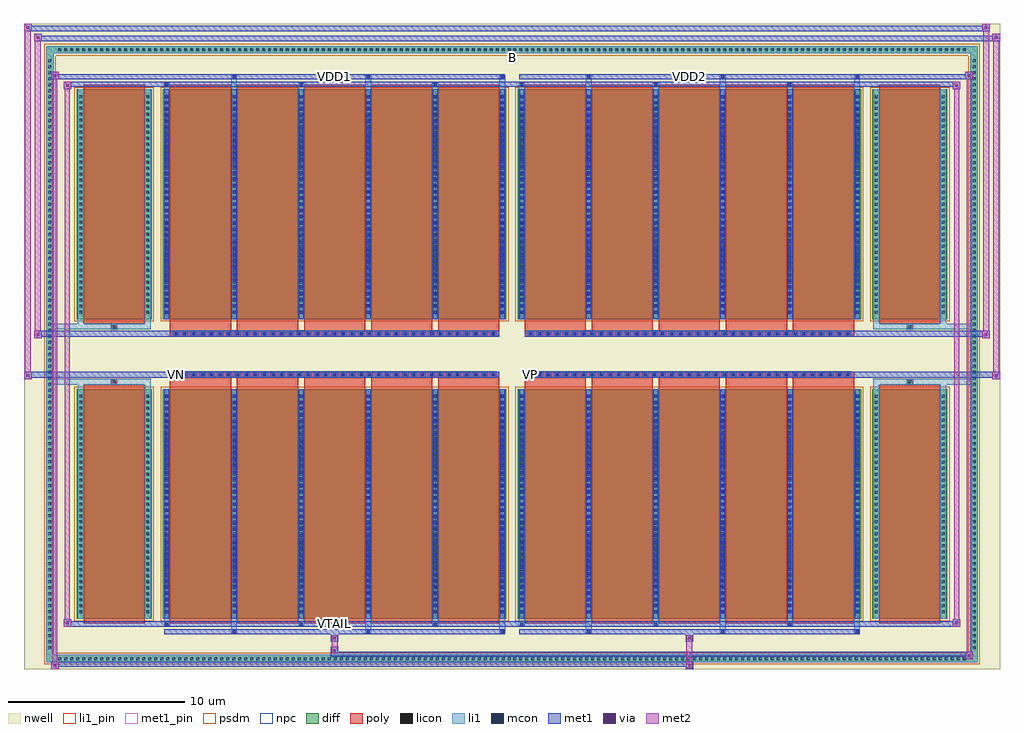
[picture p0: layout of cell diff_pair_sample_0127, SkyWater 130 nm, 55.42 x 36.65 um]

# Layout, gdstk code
import gdstk
lib = gdstk.Library(unit=1e-6, precision=5e-09)
def R(c, l, rs):  # rectangles x0, y0, x1, y1
    for r in rs: c.add(gdstk.rectangle(r[:2], r[2:], *l))
def A(c, l, x, y, w, h, nx, ny, dx, dy):  # array of equal rectangles
    R(c, l, [(x+i*dx, y+j*dy, x+i*dx+w, y+j*dy+h) for i in range(nx) for j in range(ny)])
def P(c, l, *ps):  # polygons
    for p in ps: c.add(gdstk.Polygon(p, *l))
nwell = (64, 20)
diff = (65, 20)
poly = (66, 20)
licon = (66, 44)
li1_pin = (67, 16)
li1 = (67, 20)
mcon = (67, 44)
met1_pin = (68, 16)
met1 = (68, 20)
via = (68, 44)
met2 = (69, 20)
psdm = (94, 20)
npc = (95, 20)

diff_pair_sample_0127 = lib.new_cell('diff_pair_sample_0127')
R(diff_pair_sample_0127, nwell, [(-27.71,-17.89,27.71,18.76), (-25.03,-16.08,-0.01,-0.8), (0.01,-16.08,25.03,-0.8), (-25.03,0.8,-0.01,16.08), (0.01,0.8,25.03,16.08)])
A(diff_pair_sample_0127, diff, -25.875, -17.49, 0.41, 0.41, 152, 2, 0.34, 34.57)
A(diff_pair_sample_0127, diff, -26.44, -16.865, 0.41, 0.41, 1, 99, 0, 0.34)
A(diff_pair_sample_0127, diff, 26.03, -16.865, 0.41, 0.41, 1, 99, 0, 0.34)
R(diff_pair_sample_0127, diff, [(-25.875,-17.49,25.875,-17.08), (-26.44,-16.865,-26.03,16.865), (26.03,-16.865,26.44,16.865), (-24.72,-15.035,-20.46,-1.985), (-19.82,-15.035,-0.32,-1.985), (0.32,-15.035,19.82,-1.985), (20.46,-15.035,24.72,-1.985), (-24.72,1.985,-20.46,15.035), (-19.82,1.985,-0.32,15.035), (0.32,1.985,19.82,15.035), (20.46,1.985,24.72,15.035), (-25.875,17.08,25.875,17.49)])
P(diff_pair_sample_0127, diff, [(26.44,17.49),(-26.44,17.49),(-26.44,-17.08),(-26.03,-17.08),(-26.03,17.08),(26.03,17.08),(26.03,-17.08),(-26.03,-17.08),(-26.44,-17.08),(-26.44,-17.49),(26.44,-17.49)])
A(diff_pair_sample_0127, poly, -19.43, -15.285, 3.48, 13.55, 5, 2, 3.81, 17.02)
A(diff_pair_sample_0127, poly, 0.71, -15.285, 3.48, 13.55, 5, 2, 3.81, 17.02)
A(diff_pair_sample_0127, poly, -19.43, -1.735, 3.48, 0.405, 5, 2, 3.81, 3.065)
A(diff_pair_sample_0127, poly, 0.71, -1.735, 3.48, 0.405, 5, 2, 3.81, 3.065)
A(diff_pair_sample_0127, poly, -19.235, -1.33, 0.33, 0.33, 37, 2, 0.5, 2.33)
A(diff_pair_sample_0127, poly, 0.905, -1.33, 0.33, 0.33, 37, 2, 0.5, 2.33)
R(diff_pair_sample_0127, poly, [(-24.33,-15.285,-20.85,-1.735), (20.85,-15.285,24.33,-1.735), (-22.755,-1.735,-22.425,-1.405), (-22.755,-1.735,-22.425,-1.405), (22.425,-1.735,22.755,-1.405), (22.425,-1.735,22.755,-1.405), (-19.43,-1.33,-0.71,-1), (0.71,-1.33,19.43,-1), (-19.43,1,-0.71,1.33), (0.71,1,19.43,1.33), (-22.755,1.405,-22.425,1.735), (-22.755,1.405,-22.425,1.735), (22.425,1.405,22.755,1.735), (22.425,1.405,22.755,1.735), (-24.33,1.735,-20.85,15.285), (20.85,1.735,24.33,15.285)])
A(diff_pair_sample_0127, licon, -25.755, -17.37, 0.17, 0.17, 152, 2, 0.34, 34.57)
A(diff_pair_sample_0127, licon, -26.32, -16.745, 0.17, 0.17, 1, 99, 0, 0.34)
A(diff_pair_sample_0127, licon, 26.15, -16.745, 0.17, 0.17, 1, 99, 0, 0.34)
A(diff_pair_sample_0127, licon, -24.58, -14.715, 0.17, 0.17, 1, 37, 0, 0.34)
A(diff_pair_sample_0127, licon, -20.77, -14.715, 0.17, 0.17, 1, 37, 0, 0.34)
A(diff_pair_sample_0127, licon, -19.68, -14.715, 0.17, 0.17, 6, 37, 3.81, 0.34)
A(diff_pair_sample_0127, licon, 0.46, -14.715, 0.17, 0.17, 6, 37, 3.81, 0.34)
A(diff_pair_sample_0127, licon, 20.6, -14.715, 0.17, 0.17, 1, 37, 0, 0.34)
A(diff_pair_sample_0127, licon, 24.41, -14.715, 0.17, 0.17, 1, 37, 0, 0.34)
A(diff_pair_sample_0127, licon, -19.155, -1.25, 0.17, 0.17, 37, 2, 0.5, 2.33)
A(diff_pair_sample_0127, licon, 0.985, -1.25, 0.17, 0.17, 37, 2, 0.5, 2.33)
A(diff_pair_sample_0127, licon, -24.58, 2.305, 0.17, 0.17, 1, 37, 0, 0.34)
A(diff_pair_sample_0127, licon, -20.77, 2.305, 0.17, 0.17, 1, 37, 0, 0.34)
A(diff_pair_sample_0127, licon, -19.68, 2.305, 0.17, 0.17, 6, 37, 3.81, 0.34)
A(diff_pair_sample_0127, licon, 0.46, 2.305, 0.17, 0.17, 6, 37, 3.81, 0.34)
A(diff_pair_sample_0127, licon, 20.6, 2.305, 0.17, 0.17, 1, 37, 0, 0.34)
A(diff_pair_sample_0127, licon, 24.41, 2.305, 0.17, 0.17, 1, 37, 0, 0.34)
R(diff_pair_sample_0127, licon, [(-22.675,-1.655,-22.505,-1.485), (22.505,-1.655,22.675,-1.485), (-22.675,1.485,-22.505,1.655), (22.505,1.485,22.675,1.655)])
R(diff_pair_sample_0127, li1_pin, [(-0.25,16.58,0.25,17.08)])
A(diff_pair_sample_0127, li1, -25.835, -17.45, 0.33, 0.33, 152, 2, 0.34, 34.57)
A(diff_pair_sample_0127, li1, -26.4, -16.825, 0.33, 0.33, 1, 99, 0, 0.34)
A(diff_pair_sample_0127, li1, 26.07, -16.825, 0.33, 0.33, 1, 99, 0, 0.34)
A(diff_pair_sample_0127, li1, -15.95, -15.84, 0.33, 0.805, 3, 2, 7.62, 30.875)
A(diff_pair_sample_0127, li1, -15.87, -15.84, 0.17, 0.17, 3, 2, 7.62, 31.51)
A(diff_pair_sample_0127, li1, 4.19, -15.84, 0.33, 0.805, 3, 2, 7.62, 30.875)
A(diff_pair_sample_0127, li1, 4.27, -15.84, 0.17, 0.17, 3, 2, 7.62, 31.51)
A(diff_pair_sample_0127, li1, -19.76, -15.41, 0.33, 0.375, 3, 2, 7.62, 30.445)
A(diff_pair_sample_0127, li1, -19.68, -15.41, 0.17, 0.17, 3, 2, 7.62, 30.65)
A(diff_pair_sample_0127, li1, 0.38, -15.41, 0.33, 0.375, 3, 2, 7.62, 30.445)
A(diff_pair_sample_0127, li1, 0.46, -15.41, 0.17, 0.17, 3, 2, 7.62, 30.65)
A(diff_pair_sample_0127, li1, -19.76, -15.035, 0.33, 13.05, 6, 2, 3.81, 17.02)
A(diff_pair_sample_0127, li1, 0.38, -15.035, 0.33, 13.05, 6, 2, 3.81, 17.02)
A(diff_pair_sample_0127, li1, -24.66, -14.795, 0.33, 0.33, 1, 37, 0, 0.34)
A(diff_pair_sample_0127, li1, -20.85, -14.795, 0.33, 0.33, 1, 37, 0, 0.34)
A(diff_pair_sample_0127, li1, -19.76, -14.795, 0.33, 0.33, 6, 37, 3.81, 0.34)
A(diff_pair_sample_0127, li1, 0.38, -14.795, 0.33, 0.33, 6, 37, 3.81, 0.34)
A(diff_pair_sample_0127, li1, 20.52, -14.795, 0.33, 0.33, 1, 37, 0, 0.34)
A(diff_pair_sample_0127, li1, 24.33, -14.795, 0.33, 0.33, 1, 37, 0, 0.34)
A(diff_pair_sample_0127, li1, -19.68, -14.715, 0.17, 0.17, 6, 35, 3.81, 0.36)
A(diff_pair_sample_0127, li1, -19.68, -14.715, 0.17, 12.41, 6, 2, 3.81, 17.02)
A(diff_pair_sample_0127, li1, 0.46, -14.715, 0.17, 0.17, 6, 35, 3.81, 0.36)
A(diff_pair_sample_0127, li1, 0.46, -14.715, 0.17, 12.41, 6, 2, 3.81, 17.02)
A(diff_pair_sample_0127, li1, -19.235, -1.33, 0.33, 0.33, 37, 2, 0.5, 2.33)
A(diff_pair_sample_0127, li1, 0.905, -1.33, 0.33, 0.33, 37, 2, 0.5, 2.33)
A(diff_pair_sample_0127, li1, -24.66, 2.225, 0.33, 0.33, 1, 37, 0, 0.34)
A(diff_pair_sample_0127, li1, -20.85, 2.225, 0.33, 0.33, 1, 37, 0, 0.34)
A(diff_pair_sample_0127, li1, -19.76, 2.225, 0.33, 0.33, 6, 37, 3.81, 0.34)
A(diff_pair_sample_0127, li1, 0.38, 2.225, 0.33, 0.33, 6, 37, 3.81, 0.34)
A(diff_pair_sample_0127, li1, 20.52, 2.225, 0.33, 0.33, 1, 37, 0, 0.34)
A(diff_pair_sample_0127, li1, 24.33, 2.225, 0.33, 0.33, 1, 37, 0, 0.34)
A(diff_pair_sample_0127, li1, -19.68, 2.305, 0.17, 0.17, 6, 35, 3.81, 0.36)
A(diff_pair_sample_0127, li1, 0.46, 2.305, 0.17, 0.17, 6, 35, 3.81, 0.36)
R(diff_pair_sample_0127, li1, [(-26.44,-17.49,-26.03,-17.08), (-26.44,-17.49,-26.03,-17.08), (-26.03,-17.49,26.03,-17.08), (26.03,-17.49,26.44,-17.08), (26.03,-17.49,26.44,-17.08), (-26.44,-17.08,-26.03,17.08), (26.03,-17.08,26.44,17.08), (-24.66,-15.035,-24.33,-1.985), (-20.85,-15.035,-20.52,-1.985), (20.52,-15.035,20.85,-1.985), (24.33,-15.035,24.66,-1.985), (-24.66,-1.985,-24.33,-1.405), (-20.85,-1.985,-20.52,-1.405), (20.52,-1.985,20.85,-1.405), (24.33,-1.985,24.66,-1.405), (-26.44,-1.735,-22.755,-1.405), (-24.66,-1.735,-22.755,-1.405), (-22.755,-1.735,-22.425,-1.405), (-22.425,-1.735,-20.52,-1.405), (20.52,-1.735,22.425,-1.405), (22.425,-1.735,22.755,-1.405), (22.425,-1.735,26.44,-1.405), (22.755,-1.735,24.66,-1.405), (-26.44,1.405,-22.755,1.735), (-24.66,1.405,-22.755,1.735), (-24.66,1.405,-24.33,1.985), (-22.755,1.405,-22.425,1.735), (-22.425,1.405,-20.52,1.735), (-20.85,1.405,-20.52,1.985), (20.52,1.405,22.425,1.735), (20.52,1.405,20.85,1.985), (22.425,1.405,22.755,1.735), (22.425,1.405,26.44,1.735), (22.755,1.405,24.66,1.735), (24.33,1.405,24.66,1.985), (-24.66,1.985,-24.33,15.035), (-20.85,1.985,-20.52,15.035), (20.52,1.985,20.85,15.035), (24.33,1.985,24.66,15.035), (-26.44,17.08,-26.03,17.49), (-26.44,17.08,-26.03,17.49), (-26.03,17.08,26.03,17.49), (26.03,17.08,26.44,17.49), (26.03,17.08,26.44,17.49)])
A(diff_pair_sample_0127, mcon, -15.87, -15.84, 0.17, 0.17, 3, 2, 7.62, 31.51)
A(diff_pair_sample_0127, mcon, 4.27, -15.84, 0.17, 0.17, 3, 2, 7.62, 31.51)
A(diff_pair_sample_0127, mcon, -19.68, -15.41, 0.17, 0.17, 3, 2, 7.62, 30.65)
A(diff_pair_sample_0127, mcon, 0.46, -15.41, 0.17, 0.17, 3, 2, 7.62, 30.65)
A(diff_pair_sample_0127, mcon, -19.68, -14.715, 0.17, 0.17, 6, 35, 3.81, 0.36)
A(diff_pair_sample_0127, mcon, 0.46, -14.715, 0.17, 0.17, 6, 35, 3.81, 0.36)
A(diff_pair_sample_0127, mcon, -19.155, -1.25, 0.17, 0.17, 37, 2, 0.5, 2.33)
A(diff_pair_sample_0127, mcon, 0.985, -1.25, 0.17, 0.17, 37, 2, 0.5, 2.33)
A(diff_pair_sample_0127, mcon, -19.68, 2.305, 0.17, 0.17, 6, 35, 3.81, 0.36)
A(diff_pair_sample_0127, mcon, 0.46, 2.305, 0.17, 0.17, 6, 35, 3.81, 0.36)
R(diff_pair_sample_0127, met1_pin, [(-10.205,-15.45,-9.935,-15.18), (-19.205,-1.29,-18.935,-1.02), (0.935,-1.29,1.205,-1.02), (-10.205,15.63,-9.935,15.9), (9.935,15.63,10.205,15.9)])
A(diff_pair_sample_0127, met1, -15.93, -15.9, 0.29, 0.29, 3, 2, 7.62, 31.51)
A(diff_pair_sample_0127, met1, 4.21, -15.9, 0.29, 0.29, 3, 2, 7.62, 31.51)
A(diff_pair_sample_0127, met1, -19.74, -15.47, 0.29, 0.29, 3, 2, 7.62, 30.65)
A(diff_pair_sample_0127, met1, 0.4, -15.47, 0.29, 0.29, 3, 2, 7.62, 30.65)
A(diff_pair_sample_0127, met1, -19.74, -15.035, 0.29, 13.05, 6, 2, 3.81, 17.02)
A(diff_pair_sample_0127, met1, 0.4, -15.035, 0.29, 13.05, 6, 2, 3.81, 17.02)
A(diff_pair_sample_0127, met1, -19.74, -14.775, 0.29, 0.29, 6, 35, 3.81, 0.36)
A(diff_pair_sample_0127, met1, 0.4, -14.775, 0.29, 0.29, 6, 35, 3.81, 0.36)
A(diff_pair_sample_0127, met1, -19.215, -1.31, 0.29, 0.29, 37, 2, 0.5, 2.33)
A(diff_pair_sample_0127, met1, 0.925, -1.31, 0.29, 0.29, 37, 2, 0.5, 2.33)
A(diff_pair_sample_0127, met1, -19.74, 2.245, 0.29, 0.29, 6, 35, 3.81, 0.36)
A(diff_pair_sample_0127, met1, 0.4, 2.245, 0.29, 0.29, 6, 35, 3.81, 0.36)
R(diff_pair_sample_0127, met1, [(-26.17,-17.89,-25.74,-17.46), (9.855,-17.89,10.285,-17.46), (-26.17,-17.75,10.285,-17.46), (25.74,-17.32,26.17,-16.89), (-10.285,-17.18,26.17,-16.89), (-10.285,-17.04,-9.855,-16.61), (-10.285,-16.33,-9.855,-15.9), (9.855,-16.33,10.285,-15.9), (-19.74,-15.9,-0.4,-15.61), (0.4,-15.9,19.74,-15.61), (-25.46,-15.47,-25.03,-15.04), (-25.46,-15.47,-19.74,-15.18), (-19.74,-15.47,-0.4,-15.18), (-0.4,-15.47,0.4,-15.18), (0.4,-15.47,19.74,-15.18), (19.74,-15.47,25.46,-15.18), (25.03,-15.47,25.46,-15.04), (-27.71,-1.43,-27.28,-1), (27.28,-1.43,27.71,-1), (-27.71,-1.33,-0.71,-1), (-19.43,-1.33,-0.71,-1), (0.71,-1.33,19.43,-1), (0.71,-1.33,27.71,-1), (-27.14,0.9,-26.71,1.33), (26.71,0.9,27.14,1.33), (-27.14,1,-19.43,1.33), (-19.43,1,-0.71,1.33), (0.71,1,19.43,1.33), (19.43,1,27.14,1.33), (-25.46,15.04,-25.03,15.47), (25.03,15.04,25.46,15.47), (-25.46,15.18,-19.74,15.47), (-19.74,15.18,-0.4,15.47), (-0.4,15.18,0.4,15.47), (0.4,15.18,19.74,15.47), (19.74,15.18,25.46,15.47), (-26.17,15.61,-25.74,16.04), (-26.17,15.61,-19.74,15.9), (-19.74,15.61,-0.4,15.9), (0.4,15.61,19.74,15.9), (19.74,15.61,26.17,15.9), (25.74,15.61,26.17,16.04), (-27.14,17.76,-26.71,18.19), (-27.14,17.76,-25.03,18.09), (-25.03,17.76,25.03,18.09), (25.03,17.76,27.71,18.09), (27.28,17.76,27.71,18.19), (-27.71,18.33,-27.28,18.76), (-27.71,18.33,-25.03,18.66), (-25.03,18.33,25.03,18.66), (25.03,18.33,27.14,18.66), (26.71,18.33,27.14,18.76)])
R(diff_pair_sample_0127, via, [(-26.03,-17.75,-25.88,-17.6), (9.995,-17.75,10.145,-17.6), (25.88,-17.18,26.03,-17.03), (-10.145,-16.9,-9.995,-16.75), (-10.145,-16.19,-9.995,-16.04), (9.995,-16.19,10.145,-16.04), (-25.32,-15.33,-25.17,-15.18), (25.17,-15.33,25.32,-15.18), (-27.57,-1.29,-27.42,-1.14), (27.42,-1.29,27.57,-1.14), (-27,1.04,-26.85,1.19), (26.85,1.04,27,1.19), (-25.32,15.18,-25.17,15.33), (25.17,15.18,25.32,15.33), (-26.03,15.75,-25.88,15.9), (25.88,15.75,26.03,15.9), (-27,17.9,-26.85,18.05), (27.42,17.9,27.57,18.05), (-27.57,18.47,-27.42,18.62), (26.85,18.47,27,18.62)])
R(diff_pair_sample_0127, met2, [(-26.17,-17.89,-25.74,-17.46), (-26.1,-17.89,-25.81,16.04), (-25.81,-17.89,-25.74,-17.46), (-26.12,-17.84,-25.79,-17.51), (9.905,-17.84,10.235,-17.51), (9.905,-17.51,10.235,-16.28), (25.74,-17.32,26.17,-16.89), (25.81,-17.32,26.1,16.04), (26.1,-17.32,26.17,-16.89), (25.79,-17.27,26.12,-16.94), (-10.235,-16.99,-9.905,-16.66), (-10.235,-16.66,-9.905,-16.28), (-10.235,-16.28,-9.905,-15.95), (9.905,-16.28,10.235,-15.95), (-25.46,-15.47,-25.03,-15.04), (-25.39,-15.47,-25.1,15.47), (-25.1,-15.47,-25.03,-15.04), (25.03,-15.47,25.46,-15.04), (25.1,-15.47,25.39,15.47), (25.39,-15.47,25.46,-15.04), (-25.41,-15.42,-25.08,-15.09), (25.08,-15.42,25.41,-15.09), (-27.71,-1.43,-27.28,-1), (-27.66,-1.43,-27.33,18.76), (-27.33,-1.43,-27.28,-1), (27.28,-1.43,27.71,-1), (27.33,-1.43,27.66,18.19), (27.66,-1.43,27.71,-1), (-27.66,-1.38,-27.33,-1.05), (27.33,-1.38,27.66,-1.05), (-27.14,0.9,-26.71,1.33), (-27.09,0.9,-26.76,18.19), (-26.76,0.9,-26.71,1.33), (26.71,0.9,27.14,1.33), (26.76,0.9,27.09,18.76), (27.09,0.9,27.14,1.33), (-27.09,0.95,-26.76,1.28), (26.76,0.95,27.09,1.28), (-25.46,15.04,-25.03,15.47), (-25.1,15.04,-25.03,15.47), (25.03,15.04,25.46,15.47), (25.39,15.04,25.46,15.47), (-25.41,15.09,-25.08,15.42), (25.08,15.09,25.41,15.42), (-26.17,15.61,-25.74,16.04), (-25.81,15.61,-25.74,16.04), (25.74,15.61,26.17,16.04), (26.1,15.61,26.17,16.04), (-26.12,15.66,-25.79,15.99), (25.79,15.66,26.12,15.99), (-27.14,17.76,-26.71,18.19), (-26.76,17.76,-26.71,18.19), (27.28,17.76,27.71,18.19), (27.66,17.76,27.71,18.19), (-27.09,17.81,-26.76,18.14), (27.33,17.81,27.66,18.14), (-27.71,18.33,-27.28,18.76), (-27.33,18.33,-27.28,18.76), (26.71,18.33,27.14,18.76), (27.09,18.33,27.14,18.76), (-27.66,18.38,-27.33,18.71), (26.76,18.38,27.09,18.71)])
R(diff_pair_sample_0127, psdm, [(-24.85,-15.165,-20.33,-1.855), (-19.95,-15.165,-0.19,-1.855), (0.19,-15.165,19.95,-1.855), (20.33,-15.165,24.85,-1.855), (-24.85,1.855,-20.33,15.165), (-19.95,1.855,-0.19,15.165), (0.19,1.855,19.95,15.165), (20.33,1.855,24.85,15.165)])
P(diff_pair_sample_0127, psdm, [(26.57,17.62),(-26.57,17.62),(-26.57,-16.95),(-25.9,-16.95),(-25.9,16.95),(25.9,16.95),(25.9,-16.95),(-25.9,-16.95),(-26.57,-16.95),(-26.57,-17.62),(26.57,-17.62)])
A(diff_pair_sample_0127, npc, -19.255, -1.35, 0.37, 0.37, 37, 2, 0.5, 2.33)
A(diff_pair_sample_0127, npc, 0.885, -1.35, 0.37, 0.37, 37, 2, 0.5, 2.33)
R(diff_pair_sample_0127, npc, [(-22.775,-1.755,-22.405,-1.385), (22.405,-1.755,22.775,-1.385), (-19.255,-1.35,-18.385,-0.98), (-19.255,-1.35,-18.385,-0.98), (-18.755,-1.35,-17.885,-0.98), (-18.755,-1.35,-17.885,-0.98), (-18.255,-1.35,-17.385,-0.98), (-18.255,-1.35,-17.385,-0.98), (-17.755,-1.35,-16.885,-0.98), (-17.755,-1.35,-16.885,-0.98), (-17.255,-1.35,-16.385,-0.98), (-17.255,-1.35,-16.385,-0.98), (-16.755,-1.35,-15.885,-0.98), (-16.755,-1.35,-15.885,-0.98), (-16.255,-1.35,-15.385,-0.98), (-16.255,-1.35,-15.385,-0.98), (-15.755,-1.35,-14.885,-0.98), (-15.755,-1.35,-14.885,-0.98), (-15.255,-1.35,-14.385,-0.98), (-15.255,-1.35,-14.385,-0.98), (-14.755,-1.35,-13.885,-0.98), (-14.755,-1.35,-13.885,-0.98), (-14.255,-1.35,-13.385,-0.98), (-14.255,-1.35,-13.385,-0.98), (-13.755,-1.35,-12.885,-0.98), (-13.755,-1.35,-12.885,-0.98), (-13.255,-1.35,-12.385,-0.98), (-13.255,-1.35,-12.385,-0.98), (-12.755,-1.35,-11.885,-0.98), (-12.755,-1.35,-11.885,-0.98), (-12.255,-1.35,-11.385,-0.98), (-12.255,-1.35,-11.385,-0.98), (-11.755,-1.35,-10.885,-0.98), (-11.755,-1.35,-10.885,-0.98), (-11.255,-1.35,-10.385,-0.98), (-11.255,-1.35,-10.385,-0.98), (-10.755,-1.35,-9.885,-0.98), (-10.755,-1.35,-9.885,-0.98), (-10.255,-1.35,-9.385,-0.98), (-10.255,-1.35,-9.385,-0.98), (-9.755,-1.35,-8.885,-0.98), (-9.755,-1.35,-8.885,-0.98), (-9.255,-1.35,-8.385,-0.98), (-9.255,-1.35,-8.385,-0.98), (-8.755,-1.35,-7.885,-0.98), (-8.755,-1.35,-7.885,-0.98), (-8.255,-1.35,-7.385,-0.98), (-8.255,-1.35,-7.385,-0.98), (-7.755,-1.35,-6.885,-0.98), (-7.755,-1.35,-6.885,-0.98), (-7.255,-1.35,-6.385,-0.98), (-7.255,-1.35,-6.385,-0.98), (-6.755,-1.35,-5.885,-0.98), (-6.755,-1.35,-5.885,-0.98), (-6.255,-1.35,-5.385,-0.98), (-6.255,-1.35,-5.385,-0.98), (-5.755,-1.35,-4.885,-0.98), (-5.755,-1.35,-4.885,-0.98), (-5.255,-1.35,-4.385,-0.98), (-5.255,-1.35,-4.385,-0.98), (-4.755,-1.35,-3.885,-0.98), (-4.755,-1.35,-3.885,-0.98), (-4.255,-1.35,-3.385,-0.98), (-4.255,-1.35,-3.385,-0.98), (-3.755,-1.35,-2.885,-0.98), (-3.755,-1.35,-2.885,-0.98), (-3.255,-1.35,-2.385,-0.98), (-3.255,-1.35,-2.385,-0.98), (-2.755,-1.35,-1.885,-0.98), (-2.755,-1.35,-1.885,-0.98), (-2.255,-1.35,-1.385,-0.98), (-2.255,-1.35,-1.385,-0.98), (-1.755,-1.35,-0.885,-0.98), (-1.755,-1.35,-0.885,-0.98), (0.885,-1.35,1.755,-0.98), (0.885,-1.35,1.755,-0.98), (1.385,-1.35,2.255,-0.98), (1.385,-1.35,2.255,-0.98), (1.885,-1.35,2.755,-0.98), (1.885,-1.35,2.755,-0.98), (2.385,-1.35,3.255,-0.98), (2.385,-1.35,3.255,-0.98), (2.885,-1.35,3.755,-0.98), (2.885,-1.35,3.755,-0.98), (3.385,-1.35,4.255,-0.98), (3.385,-1.35,4.255,-0.98), (3.885,-1.35,4.755,-0.98), (3.885,-1.35,4.755,-0.98), (4.385,-1.35,5.255,-0.98), (4.385,-1.35,5.255,-0.98), (4.885,-1.35,5.755,-0.98), (4.885,-1.35,5.755,-0.98), (5.385,-1.35,6.255,-0.98), (5.385,-1.35,6.255,-0.98), (5.885,-1.35,6.755,-0.98), (5.885,-1.35,6.755,-0.98), (6.385,-1.35,7.255,-0.98), (6.385,-1.35,7.255,-0.98), (6.885,-1.35,7.755,-0.98), (6.885,-1.35,7.755,-0.98), (7.385,-1.35,8.255,-0.98), (7.385,-1.35,8.255,-0.98), (7.885,-1.35,8.755,-0.98), (7.885,-1.35,8.755,-0.98), (8.385,-1.35,9.255,-0.98), (8.385,-1.35,9.255,-0.98), (8.885,-1.35,9.755,-0.98), (8.885,-1.35,9.755,-0.98), (9.385,-1.35,10.255,-0.98), (9.385,-1.35,10.255,-0.98), (9.885,-1.35,10.755,-0.98), (9.885,-1.35,10.755,-0.98), (10.385,-1.35,11.255,-0.98), (10.385,-1.35,11.255,-0.98), (10.885,-1.35,11.755,-0.98), (10.885,-1.35,11.755,-0.98), (11.385,-1.35,12.255,-0.98), (11.385,-1.35,12.255,-0.98), (11.885,-1.35,12.755,-0.98), (11.885,-1.35,12.755,-0.98), (12.385,-1.35,13.255,-0.98), (12.385,-1.35,13.255,-0.98), (12.885,-1.35,13.755,-0.98), (12.885,-1.35,13.755,-0.98), (13.385,-1.35,14.255,-0.98), (13.385,-1.35,14.255,-0.98), (13.885,-1.35,14.755,-0.98), (13.885,-1.35,14.755,-0.98), (14.385,-1.35,15.255,-0.98), (14.385,-1.35,15.255,-0.98), (14.885,-1.35,15.755,-0.98), (14.885,-1.35,15.755,-0.98), (15.385,-1.35,16.255,-0.98), (15.385,-1.35,16.255,-0.98), (15.885,-1.35,16.755,-0.98), (15.885,-1.35,16.755,-0.98), (16.385,-1.35,17.255,-0.98), (16.385,-1.35,17.255,-0.98), (16.885,-1.35,17.755,-0.98), (16.885,-1.35,17.755,-0.98), (17.385,-1.35,18.255,-0.98), (17.385,-1.35,18.255,-0.98), (17.885,-1.35,18.755,-0.98), (17.885,-1.35,18.755,-0.98), (18.385,-1.35,19.255,-0.98), (18.385,-1.35,19.255,-0.98), (-19.255,0.98,-18.385,1.35), (-19.255,0.98,-18.385,1.35), (-18.755,0.98,-17.885,1.35), (-18.755,0.98,-17.885,1.35), (-18.255,0.98,-17.385,1.35), (-18.255,0.98,-17.385,1.35), (-17.755,0.98,-16.885,1.35), (-17.755,0.98,-16.885,1.35), (-17.255,0.98,-16.385,1.35), (-17.255,0.98,-16.385,1.35), (-16.755,0.98,-15.885,1.35), (-16.755,0.98,-15.885,1.35), (-16.255,0.98,-15.385,1.35), (-16.255,0.98,-15.385,1.35), (-15.755,0.98,-14.885,1.35), (-15.755,0.98,-14.885,1.35), (-15.255,0.98,-14.385,1.35), (-15.255,0.98,-14.385,1.35), (-14.755,0.98,-13.885,1.35), (-14.755,0.98,-13.885,1.35), (-14.255,0.98,-13.385,1.35), (-14.255,0.98,-13.385,1.35), (-13.755,0.98,-12.885,1.35), (-13.755,0.98,-12.885,1.35), (-13.255,0.98,-12.385,1.35), (-13.255,0.98,-12.385,1.35), (-12.755,0.98,-11.885,1.35), (-12.755,0.98,-11.885,1.35), (-12.255,0.98,-11.385,1.35), (-12.255,0.98,-11.385,1.35), (-11.755,0.98,-10.885,1.35), (-11.755,0.98,-10.885,1.35), (-11.255,0.98,-10.385,1.35), (-11.255,0.98,-10.385,1.35), (-10.755,0.98,-9.885,1.35), (-10.755,0.98,-9.885,1.35), (-10.255,0.98,-9.385,1.35), (-10.255,0.98,-9.385,1.35), (-9.755,0.98,-8.885,1.35), (-9.755,0.98,-8.885,1.35), (-9.255,0.98,-8.385,1.35), (-9.255,0.98,-8.385,1.35), (-8.755,0.98,-7.885,1.35), (-8.755,0.98,-7.885,1.35), (-8.255,0.98,-7.385,1.35), (-8.255,0.98,-7.385,1.35), (-7.755,0.98,-6.885,1.35), (-7.755,0.98,-6.885,1.35), (-7.255,0.98,-6.385,1.35), (-7.255,0.98,-6.385,1.35), (-6.755,0.98,-5.885,1.35), (-6.755,0.98,-5.885,1.35), (-6.255,0.98,-5.385,1.35), (-6.255,0.98,-5.385,1.35), (-5.755,0.98,-4.885,1.35), (-5.755,0.98,-4.885,1.35), (-5.255,0.98,-4.385,1.35), (-5.255,0.98,-4.385,1.35), (-4.755,0.98,-3.885,1.35), (-4.755,0.98,-3.885,1.35), (-4.255,0.98,-3.385,1.35), (-4.255,0.98,-3.385,1.35), (-3.755,0.98,-2.885,1.35), (-3.755,0.98,-2.885,1.35), (-3.255,0.98,-2.385,1.35), (-3.255,0.98,-2.385,1.35), (-2.755,0.98,-1.885,1.35), (-2.755,0.98,-1.885,1.35), (-2.255,0.98,-1.385,1.35), (-2.255,0.98,-1.385,1.35), (-1.755,0.98,-0.885,1.35), (-1.755,0.98,-0.885,1.35), (0.885,0.98,1.755,1.35), (0.885,0.98,1.755,1.35), (1.385,0.98,2.255,1.35), (1.385,0.98,2.255,1.35), (1.885,0.98,2.755,1.35), (1.885,0.98,2.755,1.35), (2.385,0.98,3.255,1.35), (2.385,0.98,3.255,1.35), (2.885,0.98,3.755,1.35), (2.885,0.98,3.755,1.35), (3.385,0.98,4.255,1.35), (3.385,0.98,4.255,1.35), (3.885,0.98,4.755,1.35), (3.885,0.98,4.755,1.35), (4.385,0.98,5.255,1.35), (4.385,0.98,5.255,1.35), (4.885,0.98,5.755,1.35), (4.885,0.98,5.755,1.35), (5.385,0.98,6.255,1.35), (5.385,0.98,6.255,1.35), (5.885,0.98,6.755,1.35), (5.885,0.98,6.755,1.35), (6.385,0.98,7.255,1.35), (6.385,0.98,7.255,1.35), (6.885,0.98,7.755,1.35), (6.885,0.98,7.755,1.35), (7.385,0.98,8.255,1.35), (7.385,0.98,8.255,1.35), (7.885,0.98,8.755,1.35), (7.885,0.98,8.755,1.35), (8.385,0.98,9.255,1.35), (8.385,0.98,9.255,1.35), (8.885,0.98,9.755,1.35), (8.885,0.98,9.755,1.35), (9.385,0.98,10.255,1.35), (9.385,0.98,10.255,1.35), (9.885,0.98,10.755,1.35), (9.885,0.98,10.755,1.35), (10.385,0.98,11.255,1.35), (10.385,0.98,11.255,1.35), (10.885,0.98,11.755,1.35), (10.885,0.98,11.755,1.35), (11.385,0.98,12.255,1.35), (11.385,0.98,12.255,1.35), (11.885,0.98,12.755,1.35), (11.885,0.98,12.755,1.35), (12.385,0.98,13.255,1.35), (12.385,0.98,13.255,1.35), (12.885,0.98,13.755,1.35), (12.885,0.98,13.755,1.35), (13.385,0.98,14.255,1.35), (13.385,0.98,14.255,1.35), (13.885,0.98,14.755,1.35), (13.885,0.98,14.755,1.35), (14.385,0.98,15.255,1.35), (14.385,0.98,15.255,1.35), (14.885,0.98,15.755,1.35), (14.885,0.98,15.755,1.35), (15.385,0.98,16.255,1.35), (15.385,0.98,16.255,1.35), (15.885,0.98,16.755,1.35), (15.885,0.98,16.755,1.35), (16.385,0.98,17.255,1.35), (16.385,0.98,17.255,1.35), (16.885,0.98,17.755,1.35), (16.885,0.98,17.755,1.35), (17.385,0.98,18.255,1.35), (17.385,0.98,18.255,1.35), (17.885,0.98,18.755,1.35), (17.885,0.98,18.755,1.35), (18.385,0.98,19.255,1.35), (18.385,0.98,19.255,1.35), (-22.775,1.385,-22.405,1.755), (22.405,1.385,22.775,1.755)])
diff_pair_sample_0127.add(gdstk.Label('VTAIL', (-10.07,-15.315), layer=68, texttype=5))
diff_pair_sample_0127.add(gdstk.Label('VN', (-19.07,-1.155), layer=68, texttype=5))
diff_pair_sample_0127.add(gdstk.Label('VP', (1.07,-1.155), layer=68, texttype=5))
diff_pair_sample_0127.add(gdstk.Label('B', (0,16.83), layer=67, texttype=5))
diff_pair_sample_0127.add(gdstk.Label('VDD2', (10.07,15.765), layer=68, texttype=5))
diff_pair_sample_0127.add(gdstk.Label('VDD1', (-10.07,15.765), layer=68, texttype=5))

lib.write_gds('diff_pair_sample_0127.gds')
